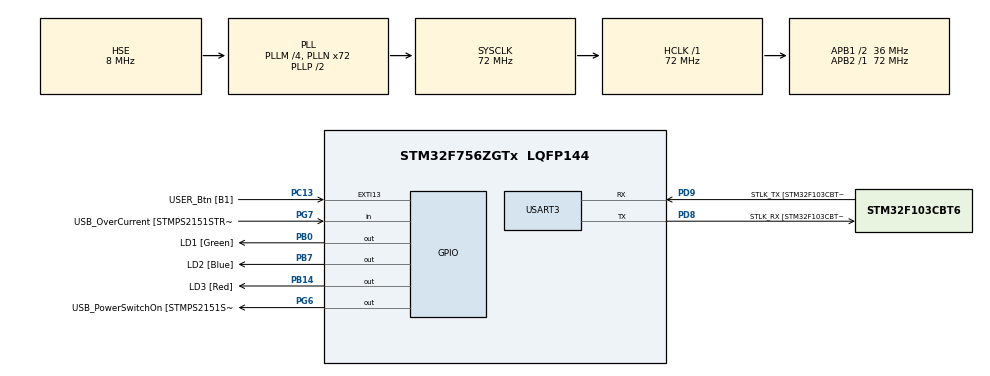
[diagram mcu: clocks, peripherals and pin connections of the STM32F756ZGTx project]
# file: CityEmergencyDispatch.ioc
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FREERTOS.Tasks01=defaultTask,24,128,StartDefaultTask,Default,NULL,Dynamic,NULL,NULL
FREERTOS.configUSE_NEWLIB_REENTRANT=1
Mcu.Family=STM32F7
Mcu.Name=STM32F756ZGTx
Mcu.Package=LQFP144
NVIC.PriorityGroup=NVIC_PRIORITYGROUP_4
NVIC.TIM1_UP_TIM10_IRQn=true\:15\:0\:false\:false\:true\:false\:false\:true\:true
NVIC.TIM2_IRQn=true\:5\:0\:false\:false\:true\:true\:true\:true\:true
NVIC.TimeBase=TIM1_UP_TIM10_IRQn
NVIC.TimeBaseIP=TIM1
PA1.GPIO_Label=RMII_REF_CLK [LAN8742A-CZ-TR_REFCLK0]
PA1.Signal=ETH_REF_CLK
PA10.GPIO_Label=USB_ID
PA10.Signal=USB_OTG_FS_ID
PA11.GPIO_Label=USB_DM
PA11.Signal=USB_OTG_FS_DM
PA12.GPIO_Label=USB_DP
PA12.Signal=USB_OTG_FS_DP
PA13.GPIO_Label=TMS
PA13.Mode=Serial_Wire
PA13.Signal=SYS_JTMS-SWDIO
PA14.GPIO_Label=TCK
PA14.Mode=Serial_Wire
PA14.Signal=SYS_JTCK-SWCLK
PA2.GPIO_Label=RMII_MDIO [LAN8742A-CZ-TR_MDIO]
PA2.Signal=ETH_MDIO
PA7.GPIO_Label=RMII_CRS_DV [LAN8742A-CZ-TR_CRS_DV]
PA7.Signal=ETH_CRS_DV
PA8.GPIO_Label=USB_SOF [TP1]
PA8.Signal=USB_OTG_FS_SOF
PA9.GPIO_Label=USB_VBUS
PA9.Signal=USB_OTG_FS_VBUS
PB0.GPIO_Label=LD1 [Green]
PB0.Signal=GPIO_Output
PB13.GPIO_Label=RMII_TXD1 [LAN8742A-CZ-TR_TXD1]
PB13.Signal=ETH_TXD1
PB14.GPIO_Label=LD3 [Red]
PB14.Signal=GPIO_Output
PB3.GPIO_Label=SW0
PB3.Signal=SYS_JTDO-SWO
PB7.GPIO_Label=LD2 [Blue]
PB7.Signal=GPIO_Output
PB8.Signal=I2C1_SCL
PB9.Signal=I2C1_SDA
PC1.GPIO_Label=RMII_MDC [LAN8742A-CZ-TR_MDC]
PC1.Signal=ETH_MDC
PC13.GPIO_Label=USER_Btn [B1]
PC13.Signal=GPXTI13
PC14/OSC32_IN.Mode=LSE-External-Oscillator
PC14/OSC32_IN.Signal=RCC_OSC32_IN
PC15/OSC32_OUT.Mode=LSE-External-Oscillator
PC15/OSC32_OUT.Signal=RCC_OSC32_OUT
PC4.GPIO_Label=RMII_RXD0 [LAN8742A-CZ-TR_RXD0]
PC4.Signal=ETH_RXD0
PC5.GPIO_Label=RMII_RXD1 [LAN8742A-CZ-TR_RXD1]
PC5.Signal=ETH_RXD1
PD8.GPIO_Label=STLK_RX [STM32F103CBT6_PA3]
PD8.Mode=Asynchronous
PD8.Signal=USART3_TX
PD9.GPIO_Label=STLK_TX [STM32F103CBT6_PA2]
PD9.Mode=Asynchronous
PD9.Signal=USART3_RX
PG11.GPIO_Label=RMII_TX_EN [LAN8742A-CZ-TR_TXEN]
PG11.Signal=ETH_TX_EN
PG13.GPIO_Label=RMII_TXD0 [LAN8742A-CZ-TR_TXD0]
PG13.Signal=ETH_TXD0
PG6.GPIO_Label=USB_PowerSwitchOn [STMPS2151STR_EN]
PG6.Signal=GPIO_Output
PG7.GPIO_Label=USB_OverCurrent [STMPS2151STR_FAULT]
PG7.Signal=GPIO_Input
PH0/OSC_IN.GPIO_Label=MCO [STM32F103CBT6_PA8]
PH0/OSC_IN.Mode=HSE-External-Clock-Source
PH0/OSC_IN.Signal=RCC_OSC_IN
PH1/OSC_OUT.Mode=HSE-External-Clock-Source
PH1/OSC_OUT.Signal=RCC_OSC_OUT
ProjectManager.HeapSize=0x200
ProjectManager.StackSize=0x400
ProjectManager.TargetToolchain=CMake
RCC.48MHZClocksFreq_Value=24000000
RCC.AHBFreq_Value=72000000
RCC.APB1CLKDivider=RCC_HCLK_DIV2
RCC.APB1Freq_Value=36000000
RCC.APB1TimFreq_Value=72000000
RCC.APB2Freq_Value=72000000
RCC.APB2TimFreq_Value=72000000
RCC.CortexFreq_Value=72000000
RCC.HCLKFreq_Value=72000000
RCC.HSE_VALUE=8000000
RCC.HSI_VALUE=16000000
RCC.PLLM=4
RCC.PLLMUL=RCC_PLL_MUL9
RCC.PLLN=72
RCC.PLLQ=3
RCC.PLLSourceVirtual=RCC_PLLSOURCE_HSE
RCC.PRESCALERUSB=RCC_USBCLKSOURCE_PLL_DIV1_5
RCC.SYSCLKFreq_VALUE=72000000
RCC.SYSCLKSource=RCC_SYSCLKSOURCE_PLLCLK
RCC.SYSCLKSourceVirtual=RCC_SYSCLKSOURCE_PLLCLK
RCC.USBFreq_Value=48000000
RCC.VCOOutputFreq_Value=144000000
TIM2.AutoReloadPreload=TIM_AUTORELOAD_PRELOAD_ENABLE
TIM2.Period=99
TIM2.Prescaler=7199
USART3.VirtualMode-Asynchronous=VM_ASYNC
VP_FREERTOS_VS_CMSIS_V2.Mode=CMSIS_V2
VP_RNG_VS_RNG.Mode=RNG_Activate
VP_SYS_VS_tim1.Mode=TIM1
VP_TIM2_VS_ClockSourceINT.Mode=Internal
board=NUCLEO-F756ZG

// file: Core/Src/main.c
/* USER CODE BEGIN Header */
/**
  ******************************************************************************
  * @file           : main.c
  * @brief          : Main program body
  ******************************************************************************
  * @attention
  *
  * Copyright (c) 2025 STMicroelectronics.
  * All rights reserved.
  *
  * This software is licensed under terms that can be found in the LICENSE file
  * in the root directory of this software component.
  * If no LICENSE file comes with this software, it is provided AS-IS.
  *
  ******************************************************************************
  */
/* USER CODE END Header */
#include "main.h" // Standard HAL/CubeMX generated main header
#include "FreeRTOS.h"
#include "cmsis_os2.h"
#include "task.h"
#include "queue.h"
#include "semphr.h" // Include if using mutex for logging

// Project-specific includes
#include "project_config.h"
#include "logging.h"
//#include "event_generator.h"
#include "dispatcher.h"
//#include "ambulance.h"
//#include "police.h"
//#include "fire_dept.h"
/* USER CODE END Includes */

RNG_HandleTypeDef hrng;

TIM_HandleTypeDef htim2;

UART_HandleTypeDef huart3;

/* Definitions for defaultTask */
//osThreadId_t defaultTaskHandle;
//const osThreadAttr_t defaultTask_attributes = {
//  .name = "defaultTask",
//  .stack_size = 128 * 4,
//  .priority = (osPriority_t) osPriorityNormal,
//};
/* USER CODE BEGIN PV */
extern QueueHandle_t xDispatcherQueue;
extern QueueHandle_t xAmbulanceQueue;
extern QueueHandle_t xPoliceQueue;
extern QueueHandle_t xFireDeptQueue;

// Mutexes
SemaphoreHandle_t xUartMutex = NULL; // If using mutex-protected logging function

/* USER CODE END PV */

void SystemClock_Config(void);
static void MX_GPIO_Init(void);
static void MX_USART3_UART_Init(void);
static void MX_TIM2_Init(void);
static void MX_RNG_Init(void);
//void StartDefaultTask(void *argument);

/* USER CODE BEGIN PFP */
int __io_putchar(int ch);

/* USER CODE END PFP */

int main(void)
{

  /* MCU Configuration--------------------------------------------------------*/

  /* Reset of all peripherals, Initializes the Flash interface and the Systick. */
  HAL_Init();

  /* Configure the system clock */
  SystemClock_Config();

  /* Initialize all configured peripherals */
  MX_GPIO_Init();
  MX_USART3_UART_Init();
  MX_TIM2_Init();
  MX_RNG_Init();
  /* USER CODE BEGIN 2 */

  printf("\r\n\r\n--- City Emergency Dispatch Simulation Booting ---\r\n");
  printf("System Clock Configured.\r\n");
  printf("Peripherals Initialized.\r\n");

  /* USER CODE END 2 */

  /* Init scheduler */
  osKernelInitialize();

  /* USER CODE BEGIN RTOS_SEMAPHORES */
  // Create FreeRTOS Queues, Semaphores, Mutexes (Call function now implemented in dispatcher.c)
    CreateQueuesAndSemaphores(); // Prototype should be in dispatcher.h

    // Initialize project modules (creates tasks - Call function now implemented in dispatcher.c)
    InitializeModules(); // Prototype should be in dispatcher.h

  /* add semaphores, ... */
  /* USER CODE END RTOS_SEMAPHORES */

  /* Create the thread(s) */
  /* creation of defaultTask */
//  defaultTaskHandle = osThreadNew(StartDefaultTask, NULL, &defaultTask_attributes);

  /* USER CODE BEGIN RTOS_EVENTS */
  /* add events, ... */

    printf("Starting FreeRTOS Scheduler...\r\n"); // Safe to log now if mutex exists
  /* USER CODE END RTOS_EVENTS */

  /* Start scheduler */
  osKernelStart();

  /* We should never get here as control is now taken by the scheduler */

  /* Infinite loop */
  while (1)
  {

  }
}

void SystemClock_Config(void)
{
  RCC_OscInitTypeDef RCC_OscInitStruct = {0};
  RCC_ClkInitTypeDef RCC_ClkInitStruct = {0};

  /** Configure LSE Drive Capability
  */
  HAL_PWR_EnableBkUpAccess();

  /** Configure the main internal regulator output voltage
  */
  __HAL_RCC_PWR_CLK_ENABLE();
  __HAL_PWR_VOLTAGESCALING_CONFIG(PWR_REGULATOR_VOLTAGE_SCALE3);

  /** Initializes the RCC Oscillators according to the specified parameters
  * in the RCC_OscInitTypeDef structure.
  */
  RCC_OscInitStruct.OscillatorType = RCC_OSCILLATORTYPE_HSE;
  RCC_OscInitStruct.HSEState = RCC_HSE_BYPASS;
  RCC_OscInitStruct.PLL.PLLState = RCC_PLL_ON;
  RCC_OscInitStruct.PLL.PLLSource = RCC_PLLSOURCE_HSE;
  RCC_OscInitStruct.PLL.PLLM = 4;
  RCC_OscInitStruct.PLL.PLLN = 72;
  RCC_OscInitStruct.PLL.PLLP = RCC_PLLP_DIV2;
  RCC_OscInitStruct.PLL.PLLQ = 3;
  if (HAL_RCC_OscConfig(&RCC_OscInitStruct) != HAL_OK)
  {
    Error_Handler();
  }

  /** Initializes the CPU, AHB and APB buses clocks
  */
  RCC_ClkInitStruct.ClockType = RCC_CLOCKTYPE_HCLK|RCC_CLOCKTYPE_SYSCLK
                              |RCC_CLOCKTYPE_PCLK1|RCC_CLOCKTYPE_PCLK2;
  RCC_ClkInitStruct.SYSCLKSource = RCC_SYSCLKSOURCE_PLLCLK;
  RCC_ClkInitStruct.AHBCLKDivider = RCC_SYSCLK_DIV1;
  RCC_ClkInitStruct.APB1CLKDivider = RCC_HCLK_DIV2;
  RCC_ClkInitStruct.APB2CLKDivider = RCC_HCLK_DIV1;

  if (HAL_RCC_ClockConfig(&RCC_ClkInitStruct, FLASH_LATENCY_2) != HAL_OK)
  {
    Error_Handler();
  }
}

static void MX_RNG_Init(void)
{

  hrng.Instance = RNG;
  if (HAL_RNG_Init(&hrng) != HAL_OK)
  {
    Error_Handler();
  }

}

static void MX_TIM2_Init(void)
{

  TIM_ClockConfigTypeDef sClockSourceConfig = {0};
  TIM_MasterConfigTypeDef sMasterConfig = {0};

  htim2.Instance = TIM2;
  htim2.Init.Prescaler = 7199;
  htim2.Init.CounterMode = TIM_COUNTERMODE_UP;
  htim2.Init.Period = 99;
  htim2.Init.ClockDivision = TIM_CLOCKDIVISION_DIV1;
  htim2.Init.AutoReloadPreload = TIM_AUTORELOAD_PRELOAD_ENABLE;
  if (HAL_TIM_Base_Init(&htim2) != HAL_OK)
  {
    Error_Handler();
  }
  sClockSourceConfig.ClockSource = TIM_CLOCKSOURCE_INTERNAL;
  if (HAL_TIM_ConfigClockSource(&htim2, &sClockSourceConfig) != HAL_OK)
  {
    Error_Handler();
  }
  sMasterConfig.MasterOutputTrigger = TIM_TRGO_RESET;
  sMasterConfig.MasterSlaveMode = TIM_MASTERSLAVEMODE_DISABLE;
  if (HAL_TIMEx_MasterConfigSynchronization(&htim2, &sMasterConfig) != HAL_OK)
  {
    Error_Handler();
  }

}

static void MX_USART3_UART_Init(void)
{

  huart3.Instance = USART3;
  huart3.Init.BaudRate = 115200;
  huart3.Init.WordLength = UART_WORDLENGTH_8B;
  huart3.Init.StopBits = UART_STOPBITS_1;
  huart3.Init.Parity = UART_PARITY_NONE;
  huart3.Init.Mode = UART_MODE_TX_RX;
  huart3.Init.HwFlowCtl = UART_HWCONTROL_NONE;
  huart3.Init.OverSampling = UART_OVERSAMPLING_16;
  huart3.Init.OneBitSampling = UART_ONE_BIT_SAMPLE_DISABLE;
  huart3.AdvancedInit.AdvFeatureInit = UART_ADVFEATURE_NO_INIT;
  if (HAL_UART_Init(&huart3) != HAL_OK)
  {
    Error_Handler();
  }

}

static void MX_GPIO_Init(void)
{
  GPIO_InitTypeDef GPIO_InitStruct = {0};

  /* GPIO Ports Clock Enable */
  __HAL_RCC_GPIOC_CLK_ENABLE();
  __HAL_RCC_GPIOH_CLK_ENABLE();
  __HAL_RCC_GPIOB_CLK_ENABLE();
  __HAL_RCC_GPIOD_CLK_ENABLE();
  __HAL_RCC_GPIOA_CLK_ENABLE();

  /*Configure GPIO pin Output Level */
  HAL_GPIO_WritePin(GPIOB, LD1_Pin|LD3_Pin|LD2_Pin, GPIO_PIN_RESET);

  /*Configure GPIO pin : USER_Btn_Pin */
  GPIO_InitStruct.Pin = USER_Btn_Pin;
  GPIO_InitStruct.Mode = GPIO_MODE_IT_RISING;
  GPIO_InitStruct.Pull = GPIO_NOPULL;
  HAL_GPIO_Init(USER_Btn_GPIO_Port, &GPIO_InitStruct);

  /*Configure GPIO pins : LD1_Pin LD3_Pin LD2_Pin */
  GPIO_InitStruct.Pin = LD1_Pin|LD3_Pin|LD2_Pin;
  GPIO_InitStruct.Mode = GPIO_MODE_OUTPUT_PP;
  GPIO_InitStruct.Pull = GPIO_NOPULL;
  GPIO_InitStruct.Speed = GPIO_SPEED_FREQ_LOW;
  HAL_GPIO_Init(GPIOB, &GPIO_InitStruct);

}

/* USER CODE BEGIN 4 */

int __io_putchar(int ch)
{
	HAL_UART_Transmit(&huart3, (uint8_t *)&ch, 1, 0xFFFF);
	return ch;
}

// Static variables to maintain state between interrupts
// Initialize ticksUntilNextEvent to generate the first event relatively quickly
//static uint32_t ticksUntilNextEvent = MIN_EVENT_DELAY_TICKS; // Start with min delay
//static uint32_t currentTickCount = 0;

/* USER CODE END 4 */

//void StartDefaultTask(void *argument)
//{
//  /* USER CODE BEGIN 5 */
//  /* Infinite loop */
//  for(;;)
//  {
//    osDelay(1);
//  }
//  /* USER CODE END 5 */
//}

//void HAL_TIM_PeriodElapsedCallback(TIM_HandleTypeDef *htim)
//{
//  /* USER CODE BEGIN Callback 0 */
//
//  /* USER CODE END Callback 0 */
//  if (htim->Instance == TIM1)
//  {
//    HAL_IncTick();
//  }
//  /* USER CODE BEGIN Callback 1 */
//  else if (htim->Instance == TIM2)
//  {
//	  BaseType_t xHigherPriorityTaskWoken = pdFALSE; // Must be initialised pdFALSE
//	  uint32_t randomValue; // To store RNG output
//
//	  currentTickCount++;
//
//	  // Check if it's time to generate the event
//	  if (currentTickCount >= ticksUntilNextEvent)
//	  {
//		  // Generate the event CODE (1, 2, or 3) using RNG
//		  EmergencyEvent_t eventToSend;
//		  if (HAL_RNG_GenerateRandomNumber(&hrng, &randomValue) == HAL_OK) {
//			   eventToSend.eventCode = (randomValue % 3) + 1; // Scale 32-bit random to 1-3
//		  } else {
//			   // RNG Error - Handle it, maybe default code or log error
//			   eventToSend.eventCode = 1; // Default to Police on error?
//			   // Consider logging this error if logging is set up
//		  }
//		  eventToSend.timeStamp = xTaskGetTickCountFromISR(); // Optional timestamp
//
//		  DEBUG_LOG("Creating event: code - %d, timestamp - %d\n\r", eventToSend.eventCode, (int)eventToSend.timeStamp);
//		  // Send event to the dispatcher queue
//		  if (xDispatcherQueue != NULL) {
//			   xQueueSendFromISR(xDispatcherQueue, &eventToSend, &xHigherPriorityTaskWoken);
//			   // Optional: Check return value for queue full error
//		  }
//
//		  // Determine delay for the *NEXT* event using RNG
//		  if (HAL_RNG_GenerateRandomNumber(&hrng, &randomValue) == HAL_OK) {
//			  // Scale the 32-bit random number to our delay range in ticks
//			  ticksUntilNextEvent = (randomValue % DELAY_RANGE_TICKS) + MIN_EVENT_DELAY_TICKS;
//		  } else {
//			  // RNG Error - Handle it, maybe default delay or log error
//			  ticksUntilNextEvent = MIN_EVENT_DELAY_TICKS; // Default to min delay?
//		  }
//
//		  // Reset tick counter for the next interval
//		  currentTickCount = 0;
//
//		  // Request context switch if needed (after sending to queue)
//		  portYIELD_FROM_ISR(xHigherPriorityTaskWoken);
//	  }
//  }
//  /* USER CODE END Callback 1 */
//}

void Error_Handler(void)
{
  /* USER CODE BEGIN Error_Handler_Debug */
  /* User can add his own implementation to report the HAL error return state */

  printf("!!! HAL Error Handler Called !!!\r\n");
  taskDISABLE_INTERRUPTS(); // Critical error, disable interrupts
  __disable_irq();
  while (1)
  {
  }
  /* USER CODE END Error_Handler_Debug */
}
